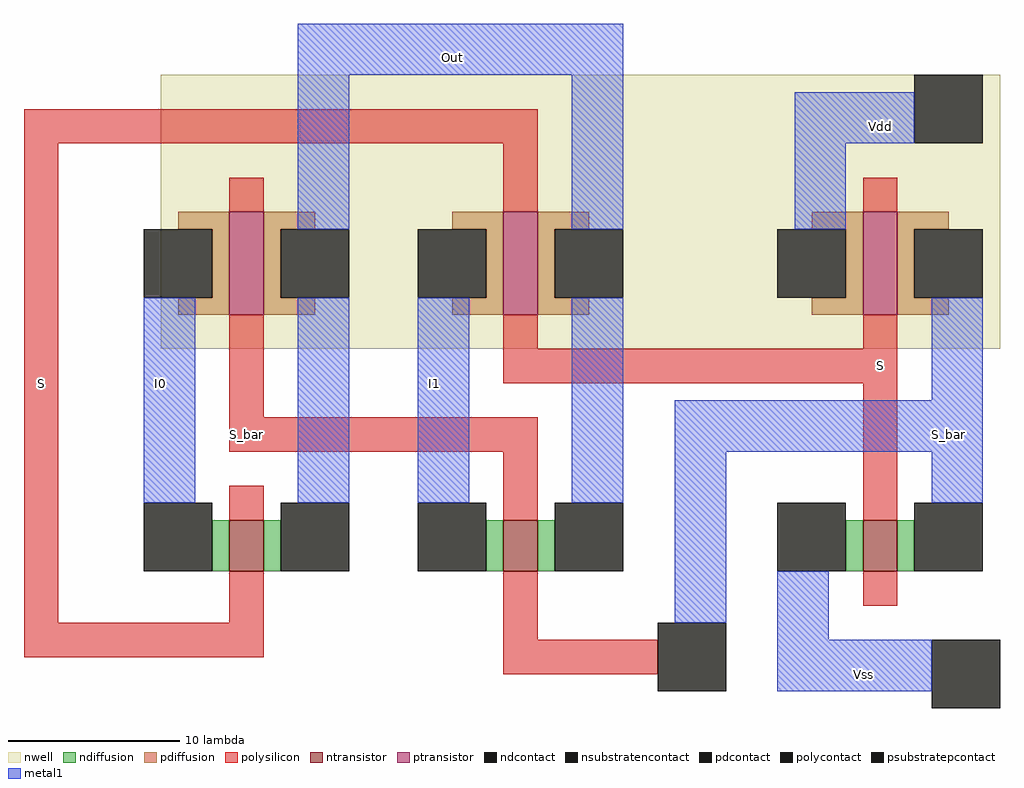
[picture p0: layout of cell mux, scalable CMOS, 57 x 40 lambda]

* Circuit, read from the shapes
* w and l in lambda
.subckt mux I0 I1 Out S S_bar Vdd Vss
M1 Out S I0 Vss nfet w=3 l=2
M2 Out S_bar I1 Vss nfet w=3 l=2
M3 S_bar S Vss Vss nfet w=3 l=2
M4 Out S_bar I0 Vdd pfet w=6 l=2
M5 Out S I1 Vdd pfet w=6 l=2
M6 S_bar S Vdd Vdd pfet w=6 l=2
.ends

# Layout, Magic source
magic
tech scmos
<< nwell >>
rect -12 2 37 18
<< polysilicon >>
rect -20 14 10 16
rect -20 -14 -18 14
rect -8 10 -6 12
rect 8 10 10 14
rect 29 10 31 12
rect -8 -2 -6 4
rect 8 2 10 4
rect 29 2 31 4
rect 8 0 31 2
rect -8 -4 10 -2
rect -8 -8 -6 -6
rect 8 -8 10 -4
rect 29 -8 31 0
rect -8 -14 -6 -11
rect -20 -16 -6 -14
rect 8 -15 10 -11
rect 29 -13 31 -11
rect 8 -17 17 -15
<< ndiffusion >>
rect -9 -11 -8 -8
rect -6 -11 -5 -8
rect 7 -11 8 -8
rect 10 -11 11 -8
rect 28 -11 29 -8
rect 31 -11 32 -8
<< pdiffusion >>
rect -11 9 -8 10
rect -9 5 -8 9
rect -11 4 -8 5
rect -6 9 -3 10
rect 5 9 8 10
rect -6 5 -5 9
rect 7 5 8 9
rect -6 4 -3 5
rect 5 4 8 5
rect 10 9 13 10
rect 26 9 29 10
rect 10 5 11 9
rect 28 5 29 9
rect 10 4 13 5
rect 26 4 29 5
rect 31 9 34 10
rect 31 5 32 9
rect 31 4 34 5
<< metal1 >>
rect -4 18 15 21
rect -4 9 -1 18
rect 12 9 15 18
rect 25 14 32 17
rect 25 9 28 14
rect -13 -7 -10 5
rect -4 -7 -1 5
rect 3 -7 6 5
rect 12 -7 15 5
rect 33 -1 36 5
rect 18 -4 36 -1
rect 18 -14 21 -4
rect 33 -7 36 -4
rect 24 -15 27 -11
rect 24 -18 33 -15
<< ntransistor >>
rect -8 -11 -6 -8
rect 8 -11 10 -8
rect 29 -11 31 -8
<< ptransistor >>
rect -8 4 -6 10
rect 8 4 10 10
rect 29 4 31 10
<< polycontact >>
rect 17 -18 21 -14
<< ndcontact >>
rect -13 -11 -9 -7
rect -5 -11 -1 -7
rect 3 -11 7 -7
rect 11 -11 15 -7
rect 24 -11 28 -7
rect 32 -11 36 -7
<< pdcontact >>
rect -13 5 -9 9
rect -5 5 -1 9
rect 3 5 7 9
rect 11 5 15 9
rect 24 5 28 9
rect 32 5 36 9
<< psubstratepcontact >>
rect 33 -19 37 -15
<< nsubstratencontact >>
rect 32 14 36 18
<< labels >>
rlabel metal1 5 19 5 19 1 Out
rlabel metal1 29 -17 29 -17 1 Vss
rlabel metal1 30 15 30 15 1 Vdd
rlabel metal1 34 -3 34 -3 1 S_bar
rlabel polysilicon 30 1 30 1 1 S
rlabel metal1 4 0 4 0 3 I1
rlabel metal1 -12 0 -12 0 3 I0
rlabel polysilicon -19 0 -19 0 1 S
rlabel polysilicon -7 -3 -7 -3 1 S_bar
<< end >>
